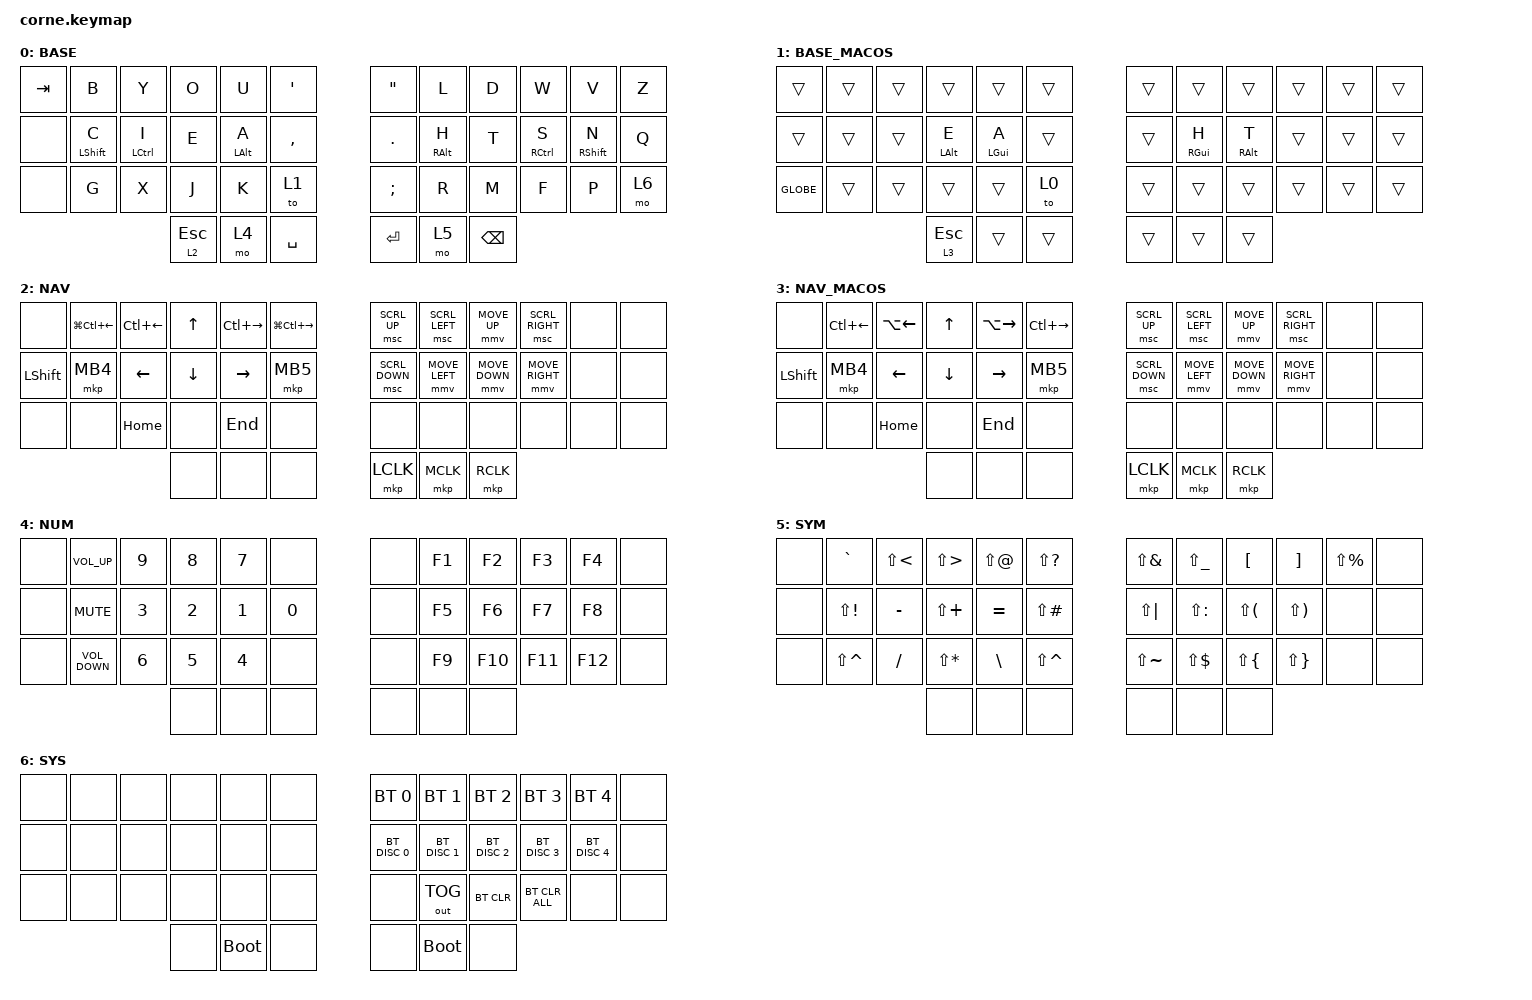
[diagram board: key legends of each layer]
/*
 * Copyright (c) 2020 The ZMK Contributors
 *
 * SPDX-License-Identifier: MIT
 */
//
//   Miryoku-style layout — QWERTY base, vim arrows (HJKL), GACS home row mods
//   Adapted from TOTEM config for Corne (42-key)
//
//   Layer 0: BASE    — QWERTY + home row mods
//   Layer 1: NAV     — vim arrows, clipboard, nav (hold SPACE)
//   Layer 2: NUM     — numpad left hand (hold BSPC)
//   Layer 3: MEDIA   — media, BT, RGB (hold ESC)
//   Layer 4: SYM     — symbols left hand (hold ENTER)
//   Layer 5: FUN     — function keys left hand (hold DEL)
//   Layer 6: MOUSE   — mouse movement, scroll, buttons (hold TAB)

#include <behaviors.dtsi>
#include <dt-bindings/zmk/bt.h>
#include <dt-bindings/zmk/keys.h>
#include <dt-bindings/zmk/outputs.h>
#include <dt-bindings/zmk/pointing.h>

#define BASE  0
#define NAV   1
#define NUM   2
#define MEDIA 3
#define SYM   4
#define FUN   5
#define MOUSE 6

// Corne key positions (42 keys):
// Row 0:  0  1  2  3  4  5    6  7  8  9  10  11
// Row 1: 12 13 14 15 16 17   18 19 20 21  22  23
// Row 2: 24 25 26 27 28 29   30 31 32 33  34  35
// Thumb:          36 37 38   39 40 41

&mt {
    flavor = "tap-preferred";
    tapping-term-ms = <200>;
    quick-tap-ms = <175>;
    require-prior-idle-ms = <150>;
};

&lt {
    flavor = "balanced";
    tapping-term-ms = <200>;
    quick-tap-ms = <175>;
};

/ {
    combos {
        compatible = "zmk,combos";

        // -- Tier 1: Essential --

        combo_caps_word {
            bindings = <&caps_word>;
            key-positions = <16 19>;        // F + J (index home row)
            timeout-ms = <30>;
            require-prior-idle-ms = <150>;
        };

        combo_backspace {
            bindings = <&kp LC(BSPC)>;     // word-delete backward — mirrors kanata I+O → C-bspc
            key-positions = <8 9>;          // physical I + O (top row)
            timeout-ms = <30>;
            require-prior-idle-ms = <150>;
            layers = <0>;
        };

        combo_backspace_macos {
            bindings = <&kp LA(BSPC)>;     // Ctrl+Backspace doesn't word-delete on macOS — Option+Backspace is the correct equivalent
            key-positions = <8 9>;          // physical I + O (top row)
            timeout-ms = <30>;
            require-prior-idle-ms = <150>;
            layers = <1>;
        };

        combo_delete {
            bindings = <&kp LC(DEL)>;      // word-delete forward — mirrors kanata O+P → C-del
            key-positions = <9 10>;         // physical O + P (top row)
            timeout-ms = <30>;
            require-prior-idle-ms = <150>;
            layers = <0>;
        };

        combo_delete_macos {
            bindings = <&kp LA(DEL)>;      // Option+Delete — correct mac equivalent, mirrors combo_backspace_macos
            key-positions = <9 10>;         // physical O + P (top row)
            timeout-ms = <30>;
            require-prior-idle-ms = <150>;
            layers = <1>;
        };

        combo_tmux_prefix {
            bindings = <&kp LC(B)>;
            key-positions = <31 32>;        // physical M + , (bottom row)
            timeout-ms = <30>;
            require-prior-idle-ms = <150>;
        };

        // -- Tier 2: High Value --

        combo_copy_mac {
            bindings = <&kp LG(C)>;
            key-positions = <26 27>;        // X + J (bottom row, left cluster)
            timeout-ms = <30>;
            require-prior-idle-ms = <150>;
            layers = <1>;
        };

        combo_paste_macos {
            bindings = <&kp LG(V)>;
            key-positions = <27 28>;        // J + K (bottom row, middle cluster) — kanata xc → paste
            timeout-ms = <30>;
            require-prior-idle-ms = <150>;
            layers = <1>;
        };

        combo_cut_macos {
            bindings = <&kp LG(X)>;
            key-positions = <26 28>;        // X + K (skip J)
            timeout-ms = <30>;
            require-prior-idle-ms = <150>;
            layers = <1>;
        };

        // -- Tier 3: Vertical Symbol Combos --

        combo_copy_win {
            bindings = <&kp LC(C)>;        // zx → copy — mirrors kanata (z x) → C-c
            key-positions = <26 27>;        // X + J
            timeout-ms = <30>;
            require-prior-idle-ms = <150>;
            layers = <0>;
        };

        combo_paste_win {
            bindings = <&kp LC(V)>;        // xc → paste — mirrors kanata (x c) → C-v
            key-positions = <27 28>;        // J + K
            timeout-ms = <30>;
            require-prior-idle-ms = <150>;
            layers = <0>;
        };

        combo_cut_win {
            bindings = <&kp LC(X)>;        // zc → cut (skip middle)
            key-positions = <26 28>;        // X + K
            timeout-ms = <30>;
            require-prior-idle-ms = <150>;
            layers = <0>;
        };

        paste_list_win {
            bindings = <&kp LG(V)>;        // Win+V clipboard history — kanata c+v → M-v (2-key); ZMK needs 3-key (matrix constraint)
            key-positions = <26 27 28>;     // X + J + K
            layers = <0>;
            timeout-ms = <30>;
            require-prior-idle-ms = <150>;
        };

        paste_list_macos {
            bindings = <&kp LC(LS(V))>;
            key-positions = <26 27 28>;
            layers = <1>;
            timeout-ms = <30>;
            require-prior-idle-ms = <150>;
        };

        undo_win {
            bindings = <&kp LC(Z)>;        // Shift+z → undo — kanata (lsft z) → C-z; Corne uses G+X (no dedicated Shift key)
            key-positions = <25 26>;        // G + X
            timeout-ms = <30>;
            require-prior-idle-ms = <150>;
            layers = <0>;
        };

        // redo removed — was 28 29 (K+to1) → LC(LS(Z)); kanata dropped redo (c v was redo, now Win+V per request)

        undo_macos {
            bindings = <&kp LG(Z)>;
            key-positions = <25 26>;
            timeout-ms = <30>;
            require-prior-idle-ms = <150>;
            layers = <1>;
        };
    };

    keymap {
        compatible = "zmk,keymap";

        base_layer {
            display-name = "BASE";
            bindings = <
&kp TAB  &kp B             &kp Y               &kp O           &kp U           &kp SQT    &kp DOUBLE_QUOTES  &kp L            &kp D            &kp W                &kp V              &kp Z
&none    &mt LEFT_SHIFT C  &mt LEFT_CONTROL I  &kp E           &mt LEFT_ALT A  &kp COMMA  &kp PERIOD         &mt RIGHT_ALT H  &kp T            &mt RIGHT_CONTROL S  &mt RIGHT_SHIFT N  &kp Q
&none    &kp G             &kp X               &kp J           &kp K           &to 1          &kp SEMICOLON      &kp R            &kp M            &kp F                &kp P              &mo 6
                                               &lt 2 ESC       &mo 4           &kp SPACE  &kp ENTER          &mo 5            &kp BSPC
            >;
        };

        base_layer_macos {
            bindings = <
&trans  &trans  &trans  &trans          &trans          &trans  &trans  &trans           &trans           &trans  &trans  &trans
&trans  &trans  &trans  &mt LEFT_ALT E  &mt LEFT_GUI A  &trans  &trans  &mt RIGHT_GUI H  &mt RIGHT_ALT T  &trans  &trans  &trans
&kp GLOBE  &trans  &trans  &trans          &trans          &to 0   &trans  &trans           &trans           &trans  &trans  &trans
                        &lt 3 ESCAPE    &trans          &trans  &trans  &trans           &trans
            >;

            label = "BASE_MACOS";
        };

        nav_layer {
            display-name = "NAV";
            bindings = <
&none           &kp LG(LC(LEFT))  &kp LC(LEFT)  &kp UP    &kp LC(RIGHT)  &kp LG(LC(RIGHT))  &msc SCRL_UP    &msc SCRL_LEFT  &mmv MOVE_UP    &msc SCRL_RIGHT  &none  &none
&kp LEFT_SHIFT  &mkp MB4          &kp LEFT      &kp DOWN  &kp RIGHT      &mkp MB5           &msc SCRL_DOWN  &mmv MOVE_LEFT  &mmv MOVE_DOWN  &mmv MOVE_RIGHT  &none  &none
&none           &none             &kp HOME      &none     &kp END        &none              &none           &none           &none           &none            &none  &none
                                                &none     &none          &none              &mkp LCLK       &mkp MCLK       &mkp RCLK
            >;
        };

        nav_layer_macos {
            bindings = <
&none           &kp LC(LEFT)  &kp LA(LEFT)  &kp UP    &kp LA(RIGHT)  &kp LC(RIGHT)  &msc SCRL_UP    &msc SCRL_LEFT  &mmv MOVE_UP    &msc SCRL_RIGHT  &none  &none
&kp LEFT_SHIFT  &mkp MB4      &kp LEFT      &kp DOWN  &kp RIGHT      &mkp MB5       &msc SCRL_DOWN  &mmv MOVE_LEFT  &mmv MOVE_DOWN  &mmv MOVE_RIGHT  &none  &none
&none           &none         &kp HOME      &none     &kp END        &none          &none           &none           &none           &none            &none  &none
                                            &none     &none          &none          &mkp LCLK       &mkp MCLK       &mkp RCLK
            >;

            label = "NAV_MACOS";
        };

        num_layer {
            display-name = "NUM";
            bindings = <
&none  &kp C_VOLUME_UP    &kp N9  &kp N8  &kp N7  &none   &none  &kp F1  &kp F2   &kp F3   &kp F4   &none
&none  &kp C_MUTE         &kp N3  &kp N2  &kp N1  &kp N0  &none  &kp F5  &kp F6   &kp F7   &kp F8   &none
&none  &kp C_VOLUME_DOWN  &kp N6  &kp N5  &kp N4  &none   &none  &kp F9  &kp F10  &kp F11  &kp F12  &none
                                  &none   &none   &none   &none  &none   &none
            >;
        };

        sym_layer {
            display-name = "SYM";
            bindings = <
&none  &kp GRAVE      &kp LS(LT)  &kp LS(GT)    &kp LS(AT)  &kp LS(QMARK)  &kp LS(AMPS)   &kp LS(UNDER)  &kp LBKT      &kp RBKT      &kp LS(PRCNT)  &none
&none  &kp LS(EXCL)   &kp MINUS   &kp LS(PLUS)  &kp EQUAL   &kp LS(POUND)  &kp LS(PIPE)   &kp LS(COLON)  &kp LS(LPAR)  &kp LS(RPAR)  &none          &none
&none  &kp LS(CARET)  &kp FSLH    &kp LS(STAR)  &kp BSLH    &kp LS(CARET)  &kp LS(TILDE)  &kp LS(DLLR)   &kp LS(LBRC)  &kp LS(RBRC)  &none          &none
                                  &none         &none       &none          &none          &none          &none
            >;
        };

        sys_layer {
            bindings = <
&none  &none  &none  &none  &none        &none  &bt BT_SEL 0   &bt BT_SEL 1   &bt BT_SEL 2   &bt BT_SEL 3    &bt BT_SEL 4   &none
&none  &none  &none  &none  &none        &none  &bt BT_DISC 0  &bt BT_DISC 1  &bt BT_DISC 2  &bt BT_DISC 3   &bt BT_DISC 4  &none
&none  &none  &none  &none  &none        &none  &none          &out OUT_TOG   &bt BT_CLR     &bt BT_CLR_ALL  &none          &none
                     &none  &bootloader  &none  &none          &bootloader    &none
            >;

            label = "SYS";
        };
    };
};
